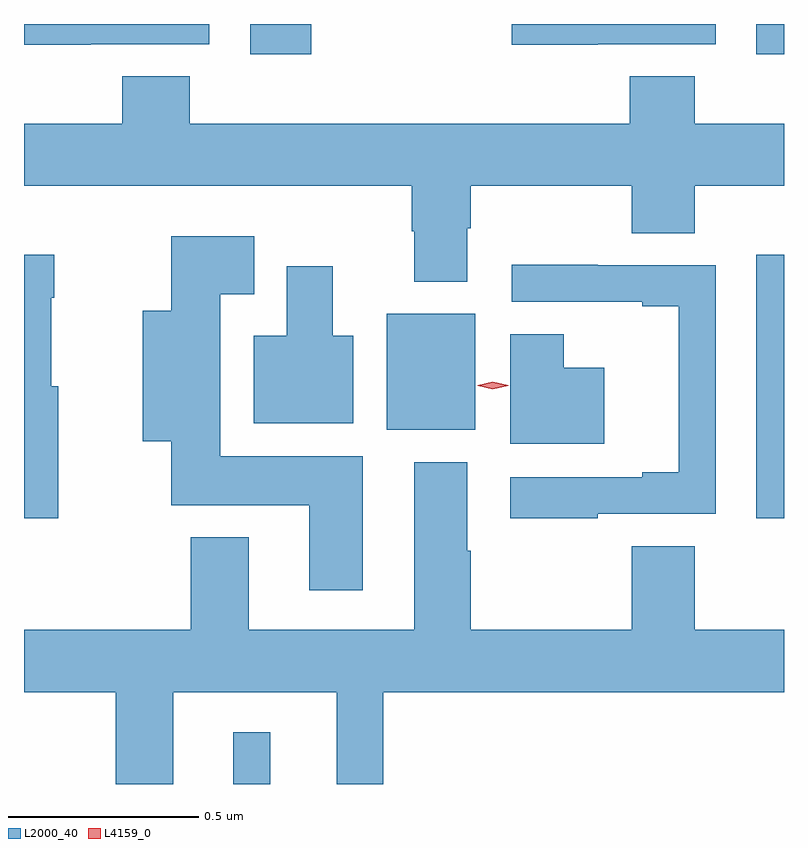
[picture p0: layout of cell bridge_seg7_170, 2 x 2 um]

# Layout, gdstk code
import gdstk
lib = gdstk.Library(unit=1e-6, precision=1e-09)
def R(c, l, rs):  # rectangles x0, y0, x1, y1
    for r in rs: c.add(gdstk.rectangle(r[:2], r[2:], *l))
def P(c, l, *ps):  # polygons
    for p in ps: c.add(gdstk.Polygon(p, *l))
L2000_40 = (2000, 40)
L4159_0 = (4159, 0)

bridge_seg7_170 = lib.new_cell('bridge_seg7_170')
R(bridge_seg7_170, L2000_40, [(462.332,1028.346,462.43,1028.482), (463.709,1029.045,463.782,1029.739), (462.737,1029.278,462.97,1029.583), (462.377,1030.266,462.538,1030.346), (463.709,1030.266,463.782,1030.346)])
P(bridge_seg7_170, L2000_40, [(463.292,1030.293),(463.602,1030.293),(463.602,1030.346),(463.065,1030.346),(463.065,1030.292),(463.292,1030.292)],
  [(461.957,1030.293),(462.27,1030.293),(462.27,1030.346),(461.782,1030.346),(461.782,1030.292),(461.957,1030.292)],
  [(462.949,1029.808),(462.957,1029.808),(462.957,1029.92),(463.381,1029.92),(463.381,1029.796),(463.547,1029.796),(463.547,1029.92),(463.782,1029.92),(463.782,1030.084),(463.547,1030.084),(463.547,1030.208),(463.376,1030.208),(463.376,1030.084),(462.218,1030.084),(462.218,1030.208),(462.041,1030.208),(462.041,1030.084),(461.782,1030.084),(461.782,1029.92),(462.802,1029.92),(462.802,1029.8),(462.809,1029.8),(462.809,1029.668),(462.949,1029.668)],
  [(462.673,1029.208),(462.298,1029.208),(462.298,1029.635),(462.388,1029.635),(462.388,1029.787),(462.169,1029.787),(462.169,1029.592),(462.095,1029.592),(462.095,1029.248),(462.169,1029.248),(462.169,1029.08),(462.533,1029.08),(462.533,1028.856),(462.673,1028.856)],
  [(461.872,1029.393),(461.854,1029.393),(461.854,1029.626),(461.862,1029.626),(461.862,1029.739),(461.782,1029.739),(461.782,1029.045),(461.872,1029.045)],
  [(463.292,1029.057),(463.602,1029.057),(463.602,1029.711),(463.292,1029.711),(463.292,1029.713),(463.065,1029.713),(463.065,1029.615),(463.409,1029.615),(463.409,1029.603),(463.505,1029.603),(463.505,1029.166),(463.409,1029.166),(463.409,1029.153),(463.062,1029.153),(463.062,1029.045),(463.292,1029.045)],
  [(462.649,1029.526),(462.595,1029.526),(462.595,1029.709),(462.473,1029.709),(462.473,1029.526),(462.386,1029.526),(462.386,1029.296),(462.649,1029.296)],
  [(463.309,1029.442),(463.203,1029.442),(463.203,1029.53),(463.061,1029.53),(463.061,1029.242),(463.309,1029.242)],
  [(462.175,1028.588),(462.605,1028.588),(462.605,1028.346),(462.727,1028.346),(462.727,1028.588),(463.782,1028.588),(463.782,1028.752),(463.547,1028.752),(463.547,1028.972),(463.381,1028.972),(463.381,1028.752),(462.957,1028.752),(462.957,1028.96),(462.949,1028.96),(462.949,1029.193),(462.809,1029.193),(462.809,1028.752),(462.373,1028.752),(462.373,1028.995),(462.221,1028.995),(462.221,1028.752),(461.782,1028.752),(461.782,1028.588),(462.023,1028.588),(462.023,1028.346),(462.175,1028.346)])
P(bridge_seg7_170, L4159_0, [(463.016,1029.385),(462.976,1029.394),(462.976,1029.395),(462.976,1029.395),(463.016,1029.405),(463.056,1029.395),(463.056,1029.394),(463.056,1029.394)])

lib.write_gds('bridge_seg7_170.gds')
